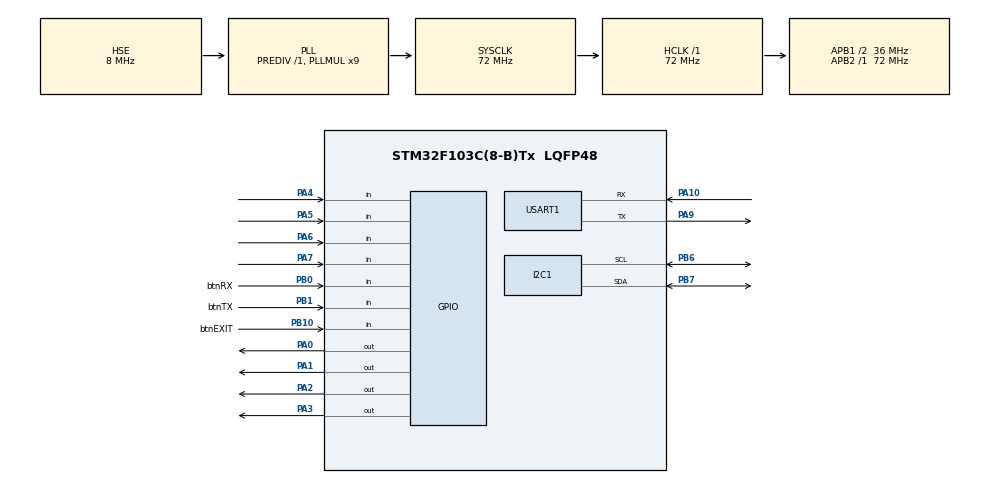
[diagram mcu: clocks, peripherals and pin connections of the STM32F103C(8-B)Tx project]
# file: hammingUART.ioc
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Mcu.Family=STM32F1
Mcu.Name=STM32F103C(8-B)Tx
Mcu.Package=LQFP48
NVIC.PriorityGroup=NVIC_PRIORITYGROUP_4
PA0-WKUP.Signal=GPIO_Output
PA1.Signal=GPIO_Output
PA10.Mode=Asynchronous
PA10.Signal=USART1_RX
PA13.Mode=Serial_Wire
PA13.Signal=SYS_JTMS-SWDIO
PA14.Mode=Serial_Wire
PA14.Signal=SYS_JTCK-SWCLK
PA2.Signal=GPIO_Output
PA3.Signal=GPIO_Output
PA4.GPIO_PuPd=GPIO_PULLUP
PA4.Signal=GPIO_Input
PA5.GPIO_PuPd=GPIO_PULLUP
PA5.Signal=GPIO_Input
PA6.GPIO_PuPd=GPIO_PULLUP
PA6.Signal=GPIO_Input
PA7.GPIO_PuPd=GPIO_PULLUP
PA7.Signal=GPIO_Input
PA9.Mode=Asynchronous
PA9.Signal=USART1_TX
PB0.GPIO_Label=btnRX
PB0.GPIO_PuPd=GPIO_PULLUP
PB0.Signal=GPIO_Input
PB1.GPIO_Label=btnTX
PB1.GPIO_PuPd=GPIO_PULLUP
PB1.Signal=GPIO_Input
PB10.GPIO_Label=btnEXIT
PB10.GPIO_PuPd=GPIO_PULLUP
PB10.Signal=GPIO_Input
PB6.Mode=I2C
PB6.Signal=I2C1_SCL
PB7.Mode=I2C
PB7.Signal=I2C1_SDA
PD0-OSC_IN.Mode=HSE-External-Oscillator
PD0-OSC_IN.Signal=RCC_OSC_IN
PD1-OSC_OUT.Mode=HSE-External-Oscillator
PD1-OSC_OUT.Signal=RCC_OSC_OUT
ProjectManager.HeapSize=0x200
ProjectManager.StackSize=0x400
ProjectManager.TargetToolchain=MDK-ARM V5.32
RCC.AHBFreq_Value=72000000
RCC.APB1CLKDivider=RCC_HCLK_DIV2
RCC.APB1Freq_Value=36000000
RCC.APB1TimFreq_Value=72000000
RCC.APB2Freq_Value=72000000
RCC.APB2TimFreq_Value=72000000
RCC.HCLKFreq_Value=72000000
RCC.PLLMUL=RCC_PLL_MUL9
RCC.PLLSourceVirtual=RCC_PLLSOURCE_HSE
RCC.SYSCLKFreq_VALUE=72000000
RCC.SYSCLKSource=RCC_SYSCLKSOURCE_PLLCLK
RCC.USBFreq_Value=72000000
USART1.VirtualMode=VM_ASYNC
board=custom

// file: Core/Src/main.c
/* USER CODE BEGIN Header */
/**
  ******************************************************************************
  * @file           : main.c
  * @brief          : Main program body
  ******************************************************************************
  * @attention
  *
  * Copyright (c) 2025 STMicroelectronics.
  * All rights reserved.
  *
  * This software is licensed under terms that can be found in the LICENSE file
  * in the root directory of this software component.
  * If no LICENSE file comes with this software, it is provided AS-IS.
  *
  ******************************************************************************
  */
/* USER CODE END Header */
#include "main.h"

/* USER CODE BEGIN Includes */
	#include "i2c_lcd.h"
	#include "stdio.h"
	#include "stdlib.h"
	#include "string.h"
/* USER CODE END Includes */

I2C_HandleTypeDef hi2c1;

UART_HandleTypeDef huart1;

/* USER CODE BEGIN PV */
	I2C_LCD_HandleTypeDef lcd1 ;
/* USER CODE END PV */

void SystemClock_Config(void);
static void MX_GPIO_Init(void);
static void MX_I2C1_Init(void);
static void MX_USART1_UART_Init(void);

/* USER CODE BEGIN 0 */
		// khai bao bien
			char inStr[50] ;
			char inBit[50] ;
			char rxBuffer[5] ;
			char bufferData[4]  ;
		// ma ran phim 4x4
		char keyPad[4][4]= {
			{'1', '2', '3', 'A'},
			{'4', '5', '6', 'B'},
			{'7', '8', '9', 'C'},
			{'*', '0', '#', 'D'},
		};

		// khai bao hang va cot ;
		uint8_t rowsPin[4] = {GPIO_PIN_0, GPIO_PIN_1, GPIO_PIN_2, GPIO_PIN_3} ;
		uint8_t colsPin[4] = {GPIO_PIN_4, GPIO_PIN_5, GPIO_PIN_6, GPIO_PIN_7} ;

		// dinh nghia port hang va cot
			GPIO_TypeDef* row_port = GPIOA;
			GPIO_TypeDef* col_port = GPIOA;

		// quet phim
		char scanKeypad() {
    for (int row = 0; row < 4; row++) {
        // All set rows
        for (int i = 0; i < 4; i++) {
            HAL_GPIO_WritePin(row_port, rowsPin[i], GPIO_PIN_SET);
        }

        //  Pull current row LOW
        HAL_GPIO_WritePin(row_port, rowsPin[row], GPIO_PIN_RESET);

        // Scan columns
        for (int col = 0; col < 4; col++) {
            if (HAL_GPIO_ReadPin(col_port, colsPin[col]) == GPIO_PIN_RESET) {
                HAL_Delay(20);  // Debounce delay
                if (HAL_GPIO_ReadPin(col_port, colsPin[col]) == GPIO_PIN_RESET) {
                    return keyPad[row][col];
                }
            }
        }
			}
    return '\0';
	}

		// hien thi cac chuc nang : RX- Truyen , RX - Nhan, EXIT - Thoat
		void showMenu(){
				lcd_clear(&lcd1);
				lcd_gotoxy(&lcd1 , 2, 0) ;
				lcd_puts(&lcd1 , "Chose Option") ;
				lcd_gotoxy(&lcd1 , 0, 1) ;
				lcd_puts(&lcd1 , "1.TX") ;
				lcd_gotoxy(&lcd1 , 5, 1) ;
				lcd_puts(&lcd1 , "2.RX") ;
				lcd_gotoxy(&lcd1 , 10, 1) ;
				lcd_puts(&lcd1 , "3.Exit") ;
		}

		// su dung kieu du lieu Enum de luu trang thai nut nhan chon chuc nang
		typedef enum{
			btnNone = 0 ,
			btnRX ,
			btnTX ,
			btnEXIT
		}btnOption;

		btnOption BTNOption ;
		// ham luu trang thai nut nhan
		void stateBtn(){
			if (HAL_GPIO_ReadPin(GPIOB, GPIO_PIN_0) == GPIO_PIN_RESET || HAL_GPIO_ReadPin(GPIOB, GPIO_PIN_1) == GPIO_PIN_RESET || HAL_GPIO_ReadPin(GPIOB, GPIO_PIN_10) == GPIO_PIN_RESET ){
				HAL_Delay(20) ; // chong doi phim
				// nut nhan TX duoc nhan
				if (HAL_GPIO_ReadPin(GPIOB, GPIO_PIN_0) == GPIO_PIN_RESET ){
						BTNOption = btnTX ;
				}
				else if (HAL_GPIO_ReadPin(GPIOB, GPIO_PIN_1) == GPIO_PIN_RESET){
						BTNOption = btnRX ;
				}
				else if (HAL_GPIO_ReadPin(GPIOB, GPIO_PIN_10) == GPIO_PIN_RESET )
						BTNOption = btnEXIT ;
			}
		}

		// Ham nhap chuoi ki tu phim 4x4
		void inString(char dStr[], int n) {
				uint8_t index = 0;
				char key;

				while (1) {
						key = scanKeypad();

						if (key != '\0') {
								if (key == '#') {
										dStr[index] = '\0';
										break;
								}
								else if (key == '*') {
										if (index > 0) {
												index--;
												dStr[index] = '\0';

												lcd_gotoxy(&lcd1, index, 1);
												lcd_puts(&lcd1, " ");
												lcd_gotoxy(&lcd1, index,1) ;
										}
								}
								else if (index < n - 1) {
										dStr[index++] = key;
										dStr[index] = '\0';
										lcd_putchar(&lcd1, key);
								}
								HAL_Delay(200);
						}
				}
		}

		// Ham ma hoa hamming
		uint16_t hamEncode(uint8_t data){
				uint8_t d[8] ;
				// d1-d8 : LSB - MSB
				for ( int i = 0 ; i < 8 ; i++){
					d[i] = (data >> i) & 1 ;
				}

				// tinh bit kiem tra p1, p2, p4, p8
				uint8_t p1, p2, p4, p8 ;
				p1 = d[0] ^ d[1] ^ d[3] ^ d[4] ^ d[6]	;
				p2 = d[0] ^ d[2] ^ d[3] ^ d[5] ^ d[6] ;
				p4 = d[1] ^ d[2] ^ d[3] ^ d[7] ;
				p8 = d[4] ^ d[5] ^ d[6] ^ d[7] ;

				// Chen cac bit vao dung theo kieu ma hoa hamming
				uint16_t codeHam ;
				codeHam |= (p1 << 0)	 		;
				codeHam |= (p2 << 1) 			;
				codeHam |= (d[0] << 2) 		;
				codeHam |= (p4 << 3)  		;
				codeHam |= (d[1] << 4)		;
				codeHam |= (d[2] << 5)  	;
				codeHam |= (d[3] << 6) 		;
				codeHam |= (p8 << 7) 			;
				codeHam |= (d[4] << 8)		;
				codeHam |= (d[5] << 9)  	;
				codeHam |= (d[6] << 10)   ;
				codeHam |= (d[7] << 11)   ;

				return codeHam ;
 		}

		// Ham giai ma hamming
		uint8_t hamDecode( uint16_t code){
				uint8_t bits[13] ;
				for( int i = 1 ; i <= 12 ; i++){
					bits[i] = (code >>(i-1)) & 1 ; 		//bits[1] tuong  ung p1
				}

				uint8_t s1, s2, s4, s8 ;
				s1 = bits[1] ^ bits[3] ^ bits[5] ^ bits[7] ^ bits[9] ^ bits[11] ;
				s2 = bits[2] ^ bits[3] ^ bits[6] ^ bits[7] ^ bits[10] ^ bits[11];
				s4 = bits[4] ^ bits[5] ^ bits[6] ^ bits[7] ^ bits[12];
				s8 = bits[8] ^ bits[9] ^ bits[10] ^ bits[11] ^ bits[12];

				uint8_t errorPos  ;
					errorPos = (s8 << 3) | (s4 << 2) | (s2  << 1 ) | (s1 << 0 ) ;

				if (errorPos != 0 && errorPos <= 12){
						bits[errorPos] ^= 1 ;
				}

				uint8_t data = 0  ;

				data |= ( bits[3] << 0 ) ;
				data |= ( bits[5] << 1 ) ;
				data |= ( bits[6] << 2 ) ;
				data |= ( bits[7] << 3 ) ;
				data |= ( bits[9] << 4 ) ;
				data |= ( bits[10] << 5 ) ;
				data |= ( bits[11] << 6 ) ;
				data |= ( bits[12] << 7 ) ;

				return data ;
		}

	uint16_t flipBit(uint16_t codeHam, int bitPos) {
    if (bitPos >= 0 && bitPos <= 15) {
        codeHam ^= (1 << bitPos);
    }
    return codeHam;
	}

		//Ham xu ly thoat chuong trinh
		void exitHandle(){
			showMenu();
		}
		// UART TX
			void uartSendString(UART_HandleTypeDef *huart, char *str) {
				HAL_UART_Transmit(huart, (uint8_t*)str, strlen(str), HAL_MAX_DELAY);
		}

		// Ham xu ly truyen du lieu
		void txHandle(){

			while(1){

			// Nhap du lieu can ma hoa hamming
			char buffer_inStr[50] ;
			lcd_clear(&lcd1);
			lcd_puts(&lcd1, "Input Data:") ;
			lcd_gotoxy(&lcd1, 0, 1);
			inString(inStr, sizeof(inStr));
			int inInt = atoi(inStr) ;
			sprintf(buffer_inStr, "Input Data:%04X\r\n", inInt) ;

			uartSendString(&huart1, buffer_inStr);
			HAL_Delay(100) ;

			//Chon vi tri dao bit
			char buffer_bitPos[3] ;
			lcd_clear(&lcd1);
			lcd_puts(&lcd1, "Nhap bit:");
			lcd_gotoxy(&lcd1, 0, 1);
			HAL_Delay(500) ;
			inString(inBit, sizeof(inBit)) ;
			int bitPos = atoi(inBit) ;
			sprintf(buffer_bitPos,"Bit Pos: %d\r\n", bitPos);

			uartSendString(&huart1, buffer_bitPos);
			HAL_Delay(100) ;

			// Ma hoa hamming
			char buffer_hamEncode[50] ;
			uint16_t hamData = hamEncode(inInt);
			sprintf(buffer_hamEncode, "Before: %04X\r\n", hamData);

			uartSendString(&huart1, buffer_hamEncode);
			HAL_Delay(100) ;

			// Ma hamming sau khi dao bit
			char buffer_hamDataFliped[50] ;
			uint16_t hamDataFliped = flipBit(hamData, bitPos) ;
			sprintf(buffer_hamDataFliped, "After: %04X \r\n", hamDataFliped);

			uartSendString(&huart1, buffer_hamDataFliped);
			HAL_Delay(100) ;

			// Giai ma hamming tra ve du lieu goc
			char buffer_deData[50] ;
			uint16_t hamdeData = hamDecode(hamDataFliped);
			sprintf(buffer_deData, "Inputed: %04X", hamdeData);

			uartSendString(&huart1, buffer_deData);
			HAL_Delay(100) ;

			lcd_clear(&lcd1);
			lcd_gotoxy(&lcd1, 0, 0);
			lcd_puts(&lcd1, buffer_hamEncode);

			lcd_gotoxy(&lcd1, 0, 1);
			lcd_puts(&lcd1, buffer_hamDataFliped);

			HAL_Delay(2000) ;

			lcd_clear(&lcd1);

			lcd_gotoxy(&lcd1, 0, 0);
			lcd_puts(&lcd1, buffer_deData);

			HAL_Delay(2000) ;

		}
	}

		// Ham xu ly nhan du lieu
		void rxHandle() {

    char bufferData[4];
				 bufferData[3] = '\0' ;
    lcd_clear(&lcd1);

    if (HAL_UART_Receive(&huart1, (uint8_t*)bufferData, 3, HAL_MAX_DELAY) == HAL_OK) {
        HAL_Delay(100);
    }

    int intDataRx = atoi(bufferData);

    char buffer_inDataRx[50];
    sprintf(buffer_inDataRx, "Input Data: %04X", intDataRx);

    char bufferbitPos[3];
					bufferbitPos[2] ='\0' ;
    if (HAL_UART_Receive(&huart1, (uint8_t*)bufferbitPos, 2, HAL_MAX_DELAY) == HAL_OK) {

        HAL_Delay(100);
    }

    int bitPosRX = atoi(bufferbitPos);

    uint16_t hamDataRX = hamEncode(intDataRx);
    char buffer_hamEncodeRX[50];
    sprintf(buffer_hamEncodeRX, "Before: %04X", hamDataRX);

			//Ma hamming sau khi dao bit
		char buffer_hamDataFlipedRX[50] ;
		uint16_t hamDataFlipedRX = flipBit(hamDataRX, bitPosRX) ;
		sprintf(buffer_hamDataFlipedRX, "After: %04X \r\n", hamDataFlipedRX);

		char buffer_deDataRX[50] ;
		uint16_t hamdeDataRX = hamDecode(hamDataFlipedRX);
		sprintf(buffer_deDataRX, "Inputed: %04X", hamdeDataRX);

    lcd_clear(&lcd1);
		lcd_gotoxy(&lcd1, 0, 0);
		lcd_puts(&lcd1, buffer_inDataRx);

		lcd_gotoxy(&lcd1, 0, 1);
		lcd_puts(&lcd1,"Bit Error: ");
		lcd_put_int(&lcd1, bitPosRX);

		lcd_clear(&lcd1);
		lcd_gotoxy(&lcd1, 0, 0);
		lcd_puts(&lcd1, buffer_hamEncodeRX);
		lcd_gotoxy(&lcd1, 0, 1);
		lcd_puts(&lcd1, buffer_hamDataFlipedRX);
		HAL_Delay(2000) ;

		lcd_clear(&lcd1);
		lcd_gotoxy(&lcd1, 0, 0);
		lcd_puts(&lcd1, buffer_deDataRX);

		HAL_Delay(2000) ;

}

		// chuyen den chuc nang tuong ung cua nut nhan
		void btnHandleOption(){
			switch(BTNOption){
				case btnEXIT:
					exitHandle();
					BTNOption = btnNone ;
					break ;
				case btnTX:
					txHandle();
					break;
				case btnRX:
					rxHandle();
					break ;
				default:
					break ;
			}
		}

/* USER CODE END 0 */

int main(void)
{

  /* MCU Configuration--------------------------------------------------------*/

  /* Reset of all peripherals, Initializes the Flash interface and the Systick. */
  HAL_Init();

  /* Configure the system clock */
  SystemClock_Config();

  /* Initialize all configured peripherals */
  MX_GPIO_Init();
  MX_I2C1_Init();
  MX_USART1_UART_Init();
  /* USER CODE BEGIN 2 */

		lcd1.hi2c = &hi2c1;
    lcd1.address = 0x4E   ;
    lcd_init(&lcd1);

		showMenu();

  /* USER CODE END 2 */

  /* Infinite loop */
  /* USER CODE BEGIN WHILE */
  while (1)
  {

				stateBtn();
				btnHandleOption();

//			uint16_t hamData = hamEncode(inInt); // Mã hóa Hamming

//			char buffer[10];
//			sprintf(buffer, "%04X", hamData); // Mã Hamming ban đầu (hex 4 chữ số)

//			uint16_t hamDataFliped = flipBit(hamData, bitPos) ;
//
//			char buffer1[10];
//			sprintf(buffer1, "%04X", hamDataFliped); // Mã Hamming sau khi đảo
//
//			uint8_t deData = hamDecode(hamDataFliped);
//			char buffer2[10] ;
//			sprintf(buffer2,"%04X", deData) ;
//

//
//			lcd_clear(&lcd1);
//			lcd_puts(&lcd1, "Before:");       // Hiển thị trước khi đảo
//			lcd_gotoxy(&lcd1, 8, 0);          // In ra ở cột 8 dòng 0
//			lcd_puts(&lcd1, buf);
//			lcd_gotoxy(&lcd1, 0, 1);
//			lcd_puts(&lcd1, "Decode:");
//			lcd_gotoxy(&lcd1, 8, 1);
//			lcd_puts(&lcd1, buffer2);
//			HAL_Delay(10000);                 // Chờ 10 giây trước khi xóa

    /* USER CODE END WHILE */

  }
}

void SystemClock_Config(void)
{
  RCC_OscInitTypeDef RCC_OscInitStruct = {0};
  RCC_ClkInitTypeDef RCC_ClkInitStruct = {0};

  /** Initializes the RCC Oscillators according to the specified parameters
  * in the RCC_OscInitTypeDef structure.
  */
  RCC_OscInitStruct.OscillatorType = RCC_OSCILLATORTYPE_HSE;
  RCC_OscInitStruct.HSEState = RCC_HSE_ON;
  RCC_OscInitStruct.HSEPredivValue = RCC_HSE_PREDIV_DIV1;
  RCC_OscInitStruct.HSIState = RCC_HSI_ON;
  RCC_OscInitStruct.PLL.PLLState = RCC_PLL_ON;
  RCC_OscInitStruct.PLL.PLLSource = RCC_PLLSOURCE_HSE;
  RCC_OscInitStruct.PLL.PLLMUL = RCC_PLL_MUL9;
  if (HAL_RCC_OscConfig(&RCC_OscInitStruct) != HAL_OK)
  {
    Error_Handler();
  }

  /** Initializes the CPU, AHB and APB buses clocks
  */
  RCC_ClkInitStruct.ClockType = RCC_CLOCKTYPE_HCLK|RCC_CLOCKTYPE_SYSCLK
                              |RCC_CLOCKTYPE_PCLK1|RCC_CLOCKTYPE_PCLK2;
  RCC_ClkInitStruct.SYSCLKSource = RCC_SYSCLKSOURCE_PLLCLK;
  RCC_ClkInitStruct.AHBCLKDivider = RCC_SYSCLK_DIV1;
  RCC_ClkInitStruct.APB1CLKDivider = RCC_HCLK_DIV2;
  RCC_ClkInitStruct.APB2CLKDivider = RCC_HCLK_DIV1;

  if (HAL_RCC_ClockConfig(&RCC_ClkInitStruct, FLASH_LATENCY_2) != HAL_OK)
  {
    Error_Handler();
  }
}

static void MX_I2C1_Init(void)
{

  hi2c1.Instance = I2C1;
  hi2c1.Init.ClockSpeed = 100000;
  hi2c1.Init.DutyCycle = I2C_DUTYCYCLE_2;
  hi2c1.Init.OwnAddress1 = 0;
  hi2c1.Init.AddressingMode = I2C_ADDRESSINGMODE_7BIT;
  hi2c1.Init.DualAddressMode = I2C_DUALADDRESS_DISABLE;
  hi2c1.Init.OwnAddress2 = 0;
  hi2c1.Init.GeneralCallMode = I2C_GENERALCALL_DISABLE;
  hi2c1.Init.NoStretchMode = I2C_NOSTRETCH_DISABLE;
  if (HAL_I2C_Init(&hi2c1) != HAL_OK)
  {
    Error_Handler();
  }

}

static void MX_USART1_UART_Init(void)
{

  huart1.Instance = USART1;
  huart1.Init.BaudRate = 115200;
  huart1.Init.WordLength = UART_WORDLENGTH_8B;
  huart1.Init.StopBits = UART_STOPBITS_1;
  huart1.Init.Parity = UART_PARITY_NONE;
  huart1.Init.Mode = UART_MODE_TX_RX;
  huart1.Init.HwFlowCtl = UART_HWCONTROL_NONE;
  huart1.Init.OverSampling = UART_OVERSAMPLING_16;
  if (HAL_UART_Init(&huart1) != HAL_OK)
  {
    Error_Handler();
  }

}

static void MX_GPIO_Init(void)
{
  GPIO_InitTypeDef GPIO_InitStruct = {0};

  /* GPIO Ports Clock Enable */
  __HAL_RCC_GPIOD_CLK_ENABLE();
  __HAL_RCC_GPIOA_CLK_ENABLE();
  __HAL_RCC_GPIOB_CLK_ENABLE();

  /*Configure GPIO pin Output Level */
  HAL_GPIO_WritePin(GPIOA, GPIO_PIN_0|GPIO_PIN_1|GPIO_PIN_2|GPIO_PIN_3, GPIO_PIN_RESET);

  /*Configure GPIO pins : PA0 PA1 PA2 PA3 */
  GPIO_InitStruct.Pin = GPIO_PIN_0|GPIO_PIN_1|GPIO_PIN_2|GPIO_PIN_3;
  GPIO_InitStruct.Mode = GPIO_MODE_OUTPUT_PP;
  GPIO_InitStruct.Pull = GPIO_NOPULL;
  GPIO_InitStruct.Speed = GPIO_SPEED_FREQ_LOW;
  HAL_GPIO_Init(GPIOA, &GPIO_InitStruct);

  /*Configure GPIO pins : PA4 PA5 PA6 PA7 */
  GPIO_InitStruct.Pin = GPIO_PIN_4|GPIO_PIN_5|GPIO_PIN_6|GPIO_PIN_7;
  GPIO_InitStruct.Mode = GPIO_MODE_INPUT;
  GPIO_InitStruct.Pull = GPIO_PULLUP;
  HAL_GPIO_Init(GPIOA, &GPIO_InitStruct);

  /*Configure GPIO pins : btnRX_Pin btnTX_Pin btnEXIT_Pin */
  GPIO_InitStruct.Pin = btnRX_Pin|btnTX_Pin|btnEXIT_Pin;
  GPIO_InitStruct.Mode = GPIO_MODE_INPUT;
  GPIO_InitStruct.Pull = GPIO_PULLUP;
  HAL_GPIO_Init(GPIOB, &GPIO_InitStruct);

}

void Error_Handler(void)
{
  __disable_irq();
  while (1)
  {
  }
}
